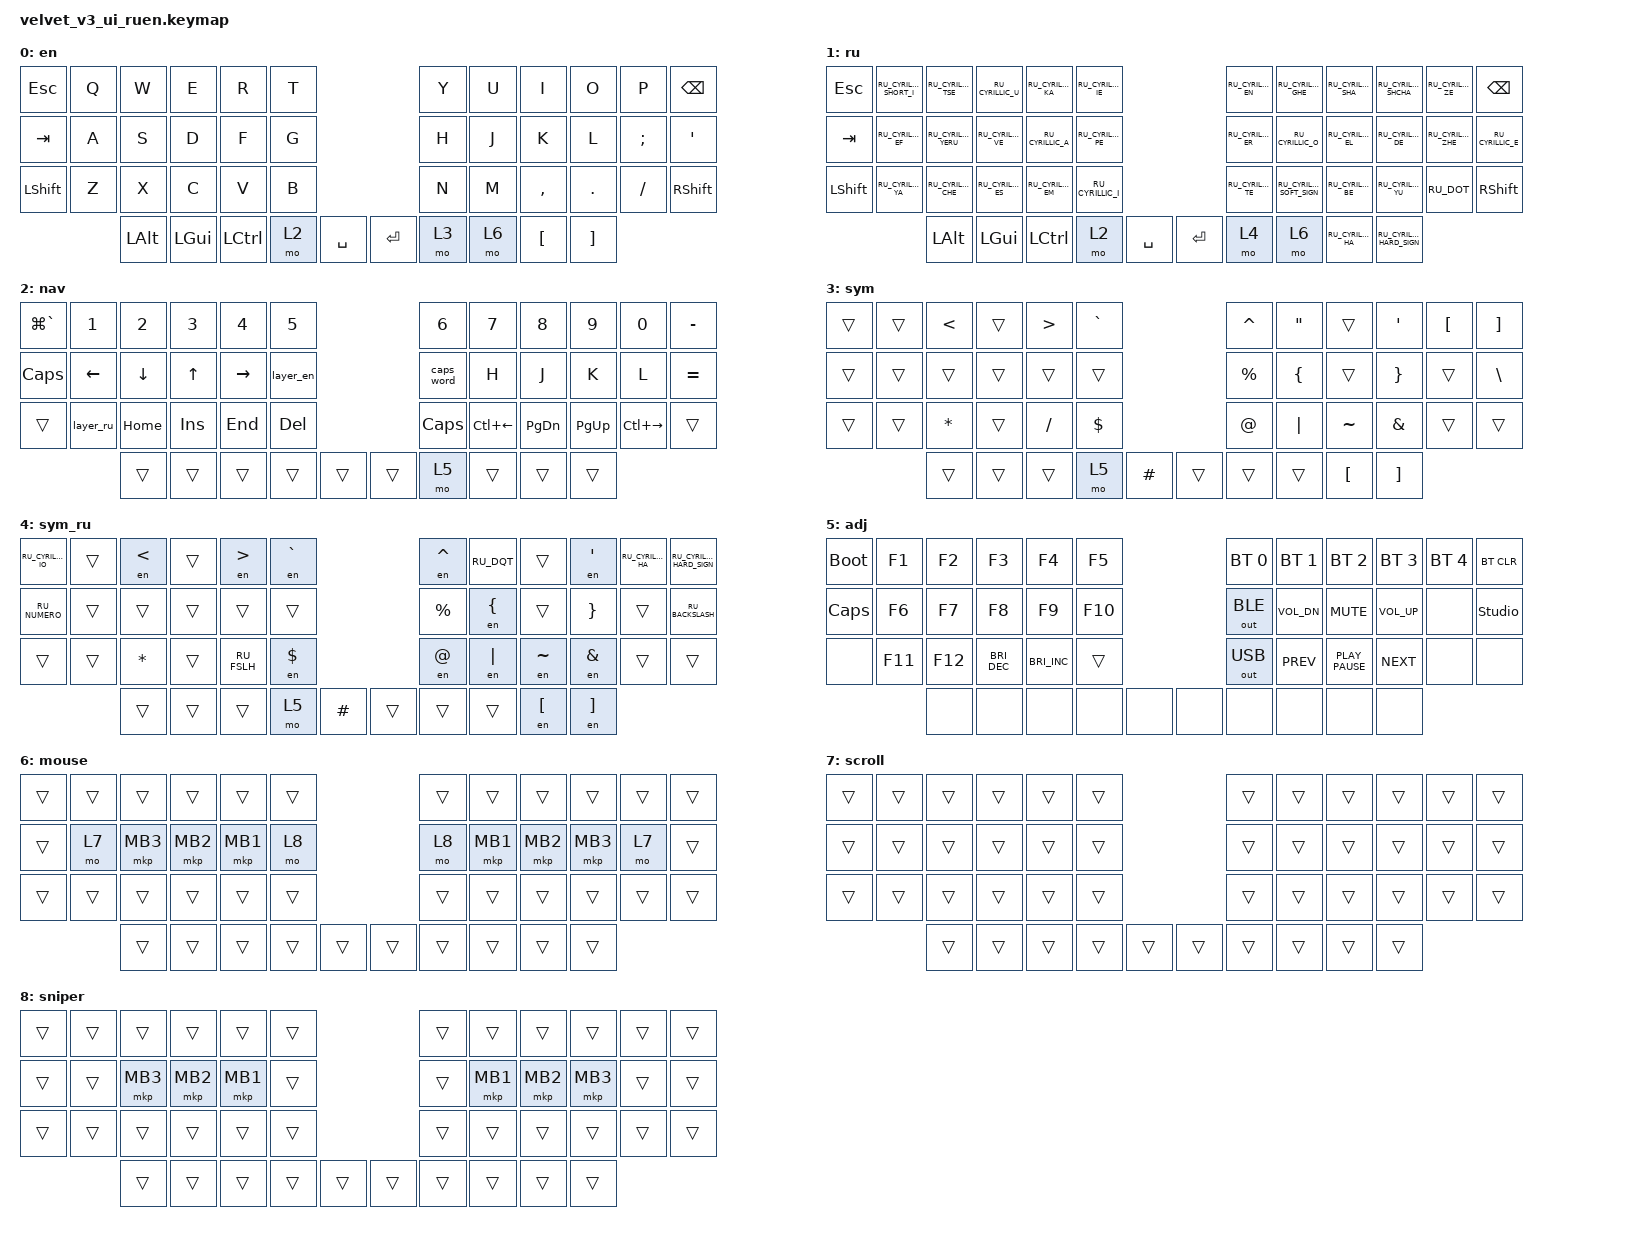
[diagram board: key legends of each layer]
#include "keys_ru.h"
#include <dt-bindings/zmk/input_transform.h>
#include <input/processors.dtsi>
#include <zephyr/dt-bindings/input/input-event-codes.h>
#include <behaviors.dtsi>
#include <dt-bindings/zmk/bt.h>
#include <dt-bindings/zmk/keys.h>
#include <dt-bindings/zmk/outputs.h>
#include <dt-bindings/zmk/pointing.h>

/ {
    behaviors {
        cap_sen: cap_sen {
            compatible = "zmk,behavior-hold-tap";
            label = "CAP_SEN";
            bindings = <&mo>, <&mkp>;

            #binding-cells = <2>;
            tapping-term-ms = <150>;
            hold-while-undecided;
        };
    };

    combos {
        compatible = "zmk,combos";

        cmben {
            bindings = <&layer_en>;
            key-positions = <24 35>;
            layers = <1>;
        };

        cmbru {
            bindings = <&layer_ru>;
            key-positions = <24 35>;
            layers = <0>;
        };
    };

    macros {
        to_ru: to_ru {
            compatible = "zmk,behavior-macro";
            #binding-cells = <0>;
            bindings = <&kp LG(SPACE)>;
            label = "TO_RU";
        };

        to_en: to_en {
            compatible = "zmk,behavior-macro";
            #binding-cells = <0>;
            bindings = <&kp LG(LS(SPACE))>;
            label = "TO_EN";
        };

        layer_en: layer_en {
            compatible = "zmk,behavior-macro";
            #binding-cells = <0>;
            bindings = <&to 0 &to_en>;
            label = "LAYER_EN";
        };

        layer_ru: layer_ru {
            compatible = "zmk,behavior-macro";
            #binding-cells = <0>;
            bindings = <&to 1 &to_ru>;
            label = "LAYER_RU";
        };

        en: en {
            compatible = "zmk,behavior-macro-one-param";
            #binding-cells = <1>;
            bindings =
                <&to_en &macro_param_1to1 &kp MACRO_PLACEHOLDER>,
                <&macro_wait_time 10>,
                <&to_ru>,
                <&macro_wait_time 10>;

            label = "EN";
        };
    };

    keymap {
        compatible = "zmk,keymap";

        en {
            bindings = <
&kp ESC    &kp Q  &kp W     &kp E     &kp R      &kp T                        &kp Y  &kp U  &kp I      &kp O     &kp P     &kp BSPC
&kp TAB    &kp A  &kp S     &kp D     &kp F      &kp G                        &kp H  &kp J  &kp K      &kp L     &kp SEMI  &kp SQT
&kp LSHFT  &kp Z  &kp X     &kp C     &kp V      &kp B                        &kp N  &kp M  &kp COMMA  &kp DOT   &kp FSLH  &kp RSHFT
                  &kp LALT  &kp LGUI  &kp LCTRL  &mo 2  &kp SPACE    &kp RET  &mo 3  &mo 6  &kp LBKT   &kp RBKT
            >;

            display-name = "en";
        };

        ru {
            display-name = "ru";
            bindings = <
&kp ESC    &kp RU_CYRILLIC_SHORT_I  &kp RU_CYRILLIC_TSE   &kp RU_CYRILLIC_U   &kp RU_CYRILLIC_KA  &kp RU_CYRILLIC_IE                        &kp RU_CYRILLIC_EN  &kp RU_CYRILLIC_GHE        &kp RU_CYRILLIC_SHA  &kp RU_CYRILLIC_SHCHA      &kp RU_CYRILLIC_ZE   &kp BSPC
&kp TAB    &kp RU_CYRILLIC_EF       &kp RU_CYRILLIC_YERU  &kp RU_CYRILLIC_VE  &kp RU_CYRILLIC_A   &kp RU_CYRILLIC_PE                        &kp RU_CYRILLIC_ER  &kp RU_CYRILLIC_O          &kp RU_CYRILLIC_EL   &kp RU_CYRILLIC_DE         &kp RU_CYRILLIC_ZHE  &kp RU_CYRILLIC_E
&kp LSHFT  &kp RU_CYRILLIC_YA       &kp RU_CYRILLIC_CHE   &kp RU_CYRILLIC_ES  &kp RU_CYRILLIC_EM  &kp RU_CYRILLIC_I                         &kp RU_CYRILLIC_TE  &kp RU_CYRILLIC_SOFT_SIGN  &kp RU_CYRILLIC_BE   &kp RU_CYRILLIC_YU         &kp RU_DOT           &kp RSHFT
                                    &kp LALT              &kp LGUI            &kp LCTRL           &mo 2               &kp SPACE    &kp RET  &mo 4               &mo 6                      &kp RU_CYRILLIC_HA   &kp RU_CYRILLIC_HARD_SIGN
            >;
        };

        nav {
            bindings = <
&kp LG(GRAVE)  &kp N1     &kp N2    &kp N3   &kp N4     &kp N5                       &kp N6      &kp N7        &kp N8         &kp N9       &kp N0         &kp MINUS
&kp CLCK       &kp LEFT   &kp DOWN  &kp UP   &kp RIGHT  &layer_en                    &caps_word  &kp H         &kp J          &kp K        &kp L          &kp EQUAL
&trans         &layer_ru  &kp HOME  &kp INS  &kp END    &kp DEL                      &kp CLCK    &kp LC(LEFT)  &kp PAGE_DOWN  &kp PAGE_UP  &kp LC(RIGHT)  &trans
                          &trans    &trans   &trans     &trans     &trans    &trans  &mo 5       &trans        &trans         &trans
            >;

            display-name = "nav";
        };

        sym {
            bindings = <
&trans  &trans  &kp LT    &trans  &kp GT    &kp GRAVE                      &kp CARET  &kp DQT   &trans     &kp SQT   &kp LBKT  &kp RBKT
&trans  &trans  &trans    &trans  &trans    &trans                         &kp PRCNT  &kp LBRC  &trans     &kp RBRC  &trans    &kp BACKSLASH
&trans  &trans  &kp STAR  &trans  &kp FSLH  &kp DLLR                       &kp AT     &kp PIPE  &kp TILDE  &kp AMPS  &trans    &trans
                &trans    &trans  &trans    &mo 5      &kp HASH    &trans  &trans     &trans    &kp LBKT   &kp RBKT
            >;

            display-name = "sym";
        };

        sym_ru {
            display-name = "sym_ru";
            bindings = <
&kp RU_CYRILLIC_IO  &trans  &en LT    &trans  &en GT       &en GRAVE                      &en CARET  &kp RU_DQT  &trans     &en SQT   &kp RU_CYRILLIC_HA  &kp RU_CYRILLIC_HARD_SIGN
&kp RU_NUMERO       &trans  &trans    &trans  &trans       &trans                         &kp PRCNT  &en LBRC    &trans     &kp RBRC  &trans              &kp RU_BACKSLASH
&trans              &trans  &kp STAR  &trans  &kp RU_FSLH  &en DLLR                       &en AT     &en PIPE    &en TILDE  &en AMPS  &trans              &trans
                            &trans    &trans  &trans       &mo 5      &kp HASH    &trans  &trans     &trans      &en LBKT   &en RBKT
            >;
        };

        adj {
            bindings = <
&bootloader  &kp F1   &kp F2   &kp F3         &kp F4                &kp F5                   &bt BT_SEL 0  &bt BT_SEL 1  &bt BT_SEL 2      &bt BT_SEL 3  &bt BT_SEL 4  &bt BT_CLR
&kp CLCK     &kp F6   &kp F7   &kp F8         &kp F9                &kp F10                  &out OUT_BLE  &kp C_VOL_DN  &kp K_MUTE        &kp C_VOL_UP  &none         &studio_unlock
&none        &kp F11  &kp F12  &kp C_BRI_DEC  &kp C_BRIGHTNESS_INC  &trans                   &out OUT_USB  &kp K_PREV    &kp K_PLAY_PAUSE  &kp K_NEXT    &none         &none
                      &none    &none          &none                 &none    &none    &none  &none         &none         &none             &none
            >;

            display-name = "adj";
        };

        mouse {
            bindings = <
&trans  &trans  &trans    &trans    &trans    &trans                    &trans  &trans    &trans    &trans    &trans  &trans
&trans  &mo 7   &mkp MB3  &mkp MB2  &mkp MB1  &mo 8                     &mo 8   &mkp MB1  &mkp MB2  &mkp MB3  &mo 7   &trans
&trans  &trans  &trans    &trans    &trans    &trans                    &trans  &trans    &trans    &trans    &trans  &trans
                &trans    &trans    &trans    &trans  &trans    &trans  &trans  &trans    &trans    &trans
            >;
        };

        scroll {
            bindings = <
&trans  &trans  &trans  &trans  &trans  &trans                    &trans  &trans  &trans  &trans  &trans  &trans
&trans  &trans  &trans  &trans  &trans  &trans                    &trans  &trans  &trans  &trans  &trans  &trans
&trans  &trans  &trans  &trans  &trans  &trans                    &trans  &trans  &trans  &trans  &trans  &trans
                &trans  &trans  &trans  &trans  &trans    &trans  &trans  &trans  &trans  &trans
            >;
        };

        sniper {
            bindings = <
&trans  &trans  &trans    &trans    &trans    &trans                    &trans  &trans    &trans    &trans    &trans  &trans
&trans  &trans  &mkp MB3  &mkp MB2  &mkp MB1  &trans                    &trans  &mkp MB1  &mkp MB2  &mkp MB3  &trans  &trans
&trans  &trans  &trans    &trans    &trans    &trans                    &trans  &trans    &trans    &trans    &trans  &trans
                &trans    &trans    &trans    &trans  &trans    &trans  &trans  &trans    &trans    &trans
            >;
        };
    };
};

&trackball { cpi = <1000>; };

&trackball_listener {
    input-processors = <&zip_xy_scaler 9 20>;

    scroller {
        layers = <7>;
        input-processors =
            <&zip_xy_transform INPUT_TRANSFORM_Y_INVERT>,
            <&zip_xy_scaler 1 32>,
            <&zip_xy_to_scroll_mapper>;
    };

    sniper {
        layers = <8>;
        input-processors = <&zip_xy_scaler 1 4>;
    };
};
